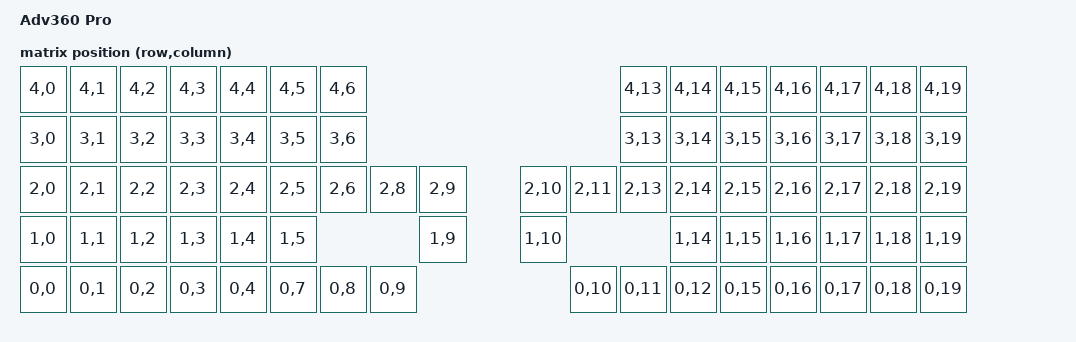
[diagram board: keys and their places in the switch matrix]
/*
*
* Copyright (c) 2023 The ZMK Contributors
* SPDX-License-Identifier: MIT
*
*/

/dts-v1/;
#include <nordic/nrf52840_qiaa.dtsi>

#include <dt-bindings/led/led.h>
#include <dt-bindings/zmk/matrix_transform.h>

#include "adv360pro-pinctrl.dtsi"

/ {
    model = "Adv360 Pro";
    compatible = "kinesis,adv360pro";

    chosen {
        zephyr,code-partition = &code_partition;
        zephyr,sram = &sram0;
        zephyr,flash = &flash0;
        zephyr,console = &cdc_acm_uart;
        zmk,kscan = &kscan0;
        zmk,backlight = &backlight;
        zmk,battery = &vbatt;
        zmk,matrix-transform = &default_transform;
        zmk,underglow = &led_strip;
    };

    default_transform: keymap_transform_0 {
        compatible = "zmk,matrix-transform";
        columns = <20>;
        rows = <5>;


        map = <
            RC(4,0) RC(4,1) RC(4,2) RC(4,3) RC(4,4) RC(4,5)  RC(4,6)                                                                        RC(4,13) RC(4,14) RC(4,15) RC(4,16) RC(4,17) RC(4,18) RC(4,19)
            RC(3,0) RC(3,1) RC(3,2) RC(3,3) RC(3,4) RC(3,5)  RC(3,6)                                                                        RC(3,13) RC(3,14) RC(3,15) RC(3,16) RC(3,17) RC(3,18) RC(3,19)
            RC(2,0) RC(2,1) RC(2,2) RC(2,3) RC(2,4) RC(2,5)  RC(2,6)           RC(2,8)  RC(2,9)            RC(2,10) RC(2,11)                RC(2,13) RC(2,14) RC(2,15) RC(2,16) RC(2,17) RC(2,18) RC(2,19)
            RC(1,0) RC(1,1) RC(1,2) RC(1,3) RC(1,4) RC(1,5)                             RC(1,9)            RC(1,10)                                  RC(1,14) RC(1,15) RC(1,16) RC(1,17) RC(1,18) RC(1,19)
            RC(0,0) RC(0,1) RC(0,2) RC(0,3) RC(0,4)                     RC(0,7) RC(0,8) RC(0,9)            RC(0,10) RC(0,11) RC(0,12)                         RC(0,15) RC(0,16) RC(0,17) RC(0,18) RC(0,19)

        >;
    };

    // Node name must match original "EXT_POWER" label to preserve user settings.
    EXT_POWER {
        compatible = "zmk,ext-power-generic";
        control-gpios = <&gpio0 13 GPIO_ACTIVE_HIGH>;
    };

    vbatt: vbatt {
        compatible = "zmk,battery-voltage-divider";
        io-channels = <&adc 2>;
        output-ohms = <100000>;
        full-ohms = <(100000 + 100000)>;
    };

    backlight: pwmleds {
        compatible = "pwm-leds";
        pwm_led_0 {
            pwms = <&pwm0 0 10000 PWM_POLARITY_NORMAL>;
        };
    };

};

&pwm0 {
    status = "okay";
    pinctrl-0 = <&pwm0_default>;
    pinctrl-1 = <&pwm0_sleep>;
    pinctrl-names = "default", "sleep";
};

&adc {
    status = "okay";
};

&gpiote {
    status = "okay";
};

&gpio0 {
    status = "okay";
};

&gpio1 {
    status = "okay";
};

&usbd {
    status = "okay";
    cdc_acm_uart: cdc_acm_uart {
        compatible = "zephyr,cdc-acm-uart";
    };
};

&flash0 {
    /*
     * For more information, see:
     * http://docs.zephyrproject.org/latest/devices/dts/flash_partitions.html
     */
    partitions {
        compatible = "fixed-partitions";
        #address-cells = <1>;
        #size-cells = <1>;

        sd_partition: partition@0 {
            reg = <0x00000000 0x00026000>;
        };
        code_partition: partition@26000 {
            reg = <0x00026000 0x000c6000>;
        };

        /*
         * The flash starting at 0x000ec000 and ending at
         * 0x000f3fff is reserved for use by the application.
         */

        /*
         * Storage partition will be used by FCB/LittleFS/NVS
         * if enabled.
         */
        storage_partition: partition@ec000 {
            reg = <0x000ec000 0x00008000>;
        };

        boot_partition: partition@f4000 {
            reg = <0x000f4000 0x0000c000>;
        };
    };
};

&spi3 {
    compatible = "nordic,nrf-spim";
    status = "okay";
    pinctrl-0 = <&spi3_default>;
    pinctrl-1 = <&spi3_sleep>;
    pinctrl-names = "default", "sleep";

    led_strip: ws2812@0 {
        compatible = "worldsemi,ws2812-spi";

        /* SPI */
        reg = <0>;
        spi-max-frequency = <4000000>;

        /* WS2812 */
        chain-length = <3>; /* number of LEDs */
        spi-one-frame = <0x70>;
        spi-zero-frame = <0x40>;

        color-mapping = <LED_COLOR_ID_GREEN
                        LED_COLOR_ID_RED
                        LED_COLOR_ID_BLUE>;
    };
};
